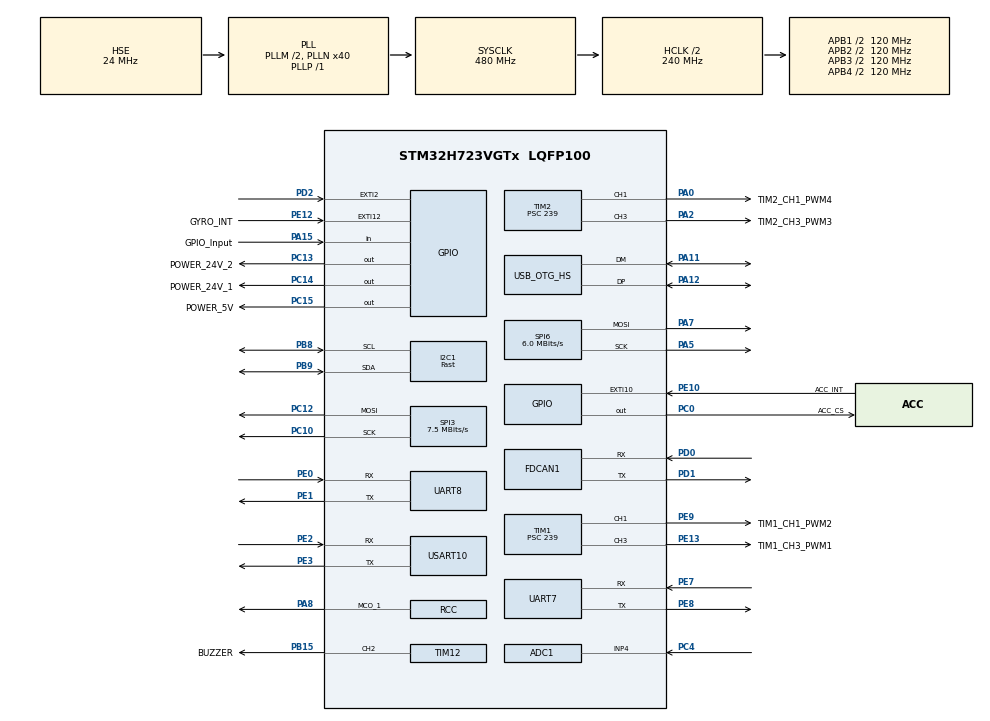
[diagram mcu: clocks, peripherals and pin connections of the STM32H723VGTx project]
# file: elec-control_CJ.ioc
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ADC1.Channel-1\#ChannelRegularConversion=ADC_CHANNEL_4
ADC1.ContinuousConvMode=ENABLE
ADC1.NbrOfConversionFlag=1
ADC1.OffsetNumber-1\#ChannelRegularConversion=ADC_OFFSET_NONE
ADC1.OffsetSignedSaturation-1\#ChannelRegularConversion=DISABLE
ADC1.Rank-1\#ChannelRegularConversion=1
ADC1.SamplingTime-1\#ChannelRegularConversion=ADC_SAMPLETIME_64CYCLES_5
ADC1.master=1
CORTEX_M7.default_mode_Activation=0
Dma.ADC1.1.Direction=DMA_PERIPH_TO_MEMORY
Dma.ADC1.1.EventEnable=DISABLE
Dma.ADC1.1.FIFOMode=DMA_FIFOMODE_DISABLE
Dma.ADC1.1.Instance=DMA1_Stream1
Dma.ADC1.1.MemDataAlignment=DMA_MDATAALIGN_HALFWORD
Dma.ADC1.1.MemInc=DMA_MINC_ENABLE
Dma.ADC1.1.Mode=DMA_CIRCULAR
Dma.ADC1.1.PeriphDataAlignment=DMA_PDATAALIGN_HALFWORD
Dma.ADC1.1.PeriphInc=DMA_PINC_DISABLE
Dma.ADC1.1.Polarity=HAL_DMAMUX_REQ_GEN_RISING
Dma.ADC1.1.Priority=DMA_PRIORITY_LOW
Dma.ADC1.1.RequestNumber=1
Dma.ADC1.1.SignalID=NONE
Dma.ADC1.1.SyncEnable=DISABLE
Dma.ADC1.1.SyncPolarity=HAL_DMAMUX_SYNC_NO_EVENT
Dma.ADC1.1.SyncRequestNumber=1
Dma.ADC1.1.SyncSignalID=NONE
Dma.Request0=UART7_RX
Dma.Request1=ADC1
Dma.UART7_RX.0.Direction=DMA_PERIPH_TO_MEMORY
Dma.UART7_RX.0.EventEnable=DISABLE
Dma.UART7_RX.0.FIFOMode=DMA_FIFOMODE_DISABLE
Dma.UART7_RX.0.Instance=DMA1_Stream0
Dma.UART7_RX.0.MemDataAlignment=DMA_MDATAALIGN_BYTE
Dma.UART7_RX.0.MemInc=DMA_MINC_ENABLE
Dma.UART7_RX.0.Mode=DMA_NORMAL
Dma.UART7_RX.0.PeriphDataAlignment=DMA_PDATAALIGN_BYTE
Dma.UART7_RX.0.PeriphInc=DMA_PINC_DISABLE
Dma.UART7_RX.0.Polarity=HAL_DMAMUX_REQ_GEN_RISING
Dma.UART7_RX.0.Priority=DMA_PRIORITY_HIGH
Dma.UART7_RX.0.RequestNumber=1
Dma.UART7_RX.0.SignalID=NONE
Dma.UART7_RX.0.SyncEnable=DISABLE
Dma.UART7_RX.0.SyncPolarity=HAL_DMAMUX_SYNC_NO_EVENT
Dma.UART7_RX.0.SyncRequestNumber=1
Dma.UART7_RX.0.SyncSignalID=NONE
FDCAN1.AutoRetransmission=ENABLE
FDCAN1.CalculateBaudRateNominal=999999
FDCAN1.CalculateTimeBitNominal=1000
FDCAN1.CalculateTimeQuantumNominal=166.66666666666669
FDCAN1.ExtFiltersNbr=1
FDCAN1.NominalPrescaler=20
FDCAN1.NominalSyncJumpWidth=30
FDCAN1.NominalTimeSeg1=4
FDCAN1.NominalTimeSeg2=1
FDCAN1.RxFifo0ElmtsNbr=8
FDCAN1.StdFiltersNbr=1
FDCAN1.TxFifoQueueElmtsNbr=3
FREERTOS.BinarySemaphores01=MotionDoneSem,Dynamic,NULL,Depleted
FREERTOS.Queues01=UsbRxQueue,64,USB_RxPacket_t,0,Dynamic,NULL,NULL;ScreenQueue,5,ScreenMsg_t,0,Dynamic,NULL,NULL;MotionQueue,5,comm_vision_t,0,Dynamic,NULL,NULL;CommQueue,5,comm_vision_t,0,Dynamic,NULL,NULL
FREERTOS.Tasks01=defaultTask,24,128,StartDefaultTask,Default,NULL,Dynamic,NULL,NULL;Comm_Task,24,512,CommTask,Default,NULL,Dynamic,NULL,NULL;Indicator_Task,32,512,IndicatorTask,Default,NULL,Dynamic,NULL,NULL;Screen_Task,8,512,ScreenTask,Default,NULL,Dynamic,NULL,NULL;Main_Task,16,256,MainTask,Default,NULL,Dynamic,NULL,NULL
I2C1.I2C_Speed_Mode=I2C_Fast
I2C1.Speed=400
I2C1.Timing=0x00B03FDB
Mcu.Family=STM32H7
Mcu.Name=STM32H723VGTx
Mcu.Package=LQFP100
NVIC.DMA1_Stream0_IRQn=true\:5\:0\:false\:false\:true\:true\:false\:true\:true
NVIC.DMA1_Stream1_IRQn=true\:5\:0\:false\:false\:true\:true\:false\:true\:true
NVIC.FDCAN1_IT0_IRQn=true\:5\:0\:false\:false\:true\:true\:true\:true\:true
NVIC.FDCAN1_IT1_IRQn=true\:5\:0\:false\:false\:true\:true\:true\:true\:true
NVIC.OTG_HS_IRQn=true\:5\:0\:false\:false\:true\:true\:true\:true\:true
NVIC.PriorityGroup=NVIC_PRIORITYGROUP_4
NVIC.TIM23_IRQn=true\:15\:0\:false\:false\:true\:false\:false\:true\:true
NVIC.TIM8_UP_TIM13_IRQn=true\:5\:0\:false\:false\:true\:true\:true\:true\:true
NVIC.TimeBase=TIM23_IRQn
NVIC.TimeBaseIP=TIM23
NVIC.UART8_IRQn=true\:5\:0\:false\:false\:true\:true\:true\:true\:true
PA0.GPIO_Label=TIM2_CH1_PWM4
PA0.Signal=S_TIM2_CH1_ETR
PA11.Mode=Device_Only_FS
PA11.Signal=USB_OTG_HS_DM
PA12.Mode=Device_Only_FS
PA12.Signal=USB_OTG_HS_DP
PA15(JTDI).GPIO_Label=GPIO_Input
PA15(JTDI).Signal=GPIO_Input
PA2.GPIO_Label=TIM2_CH3_PWM3
PA2.Signal=S_TIM2_CH3
PA5.Mode=TX_Only_Simplex_Unidirect_Master
PA5.Signal=SPI6_SCK
PA7.Mode=TX_Only_Simplex_Unidirect_Master
PA7.Signal=SPI6_MOSI
PA8.Mode=Clock-out-1
PA8.Signal=RCC_MCO_1
PB15.GPIO_Label=BUZZER
PB15.Signal=S_TIM12_CH2
PB8.GPIO_Pu=GPIO_PULLUP
PB8.Mode=I2C
PB8.Signal=I2C1_SCL
PB9.GPIO_Pu=GPIO_PULLUP
PB9.Mode=I2C
PB9.Signal=I2C1_SDA
PC0.GPIO_Label=ACC_CS
PC0.Signal=GPIO_Output
PC10.Mode=TX_Only_Simplex_Unidirect_Master
PC10.Signal=SPI3_SCK
PC12.Mode=TX_Only_Simplex_Unidirect_Master
PC12.Signal=SPI3_MOSI
PC13.GPIO_Label=POWER_24V_2
PC13.PinState=GPIO_PIN_SET
PC13.Signal=GPIO_Output
PC14-OSC32_IN.GPIO_Label=POWER_24V_1
PC14-OSC32_IN.PinState=GPIO_PIN_SET
PC14-OSC32_IN.Signal=GPIO_Output
PC15-OSC32_OUT.GPIO_Label=POWER_5V
PC15-OSC32_OUT.PinState=GPIO_PIN_SET
PC15-OSC32_OUT.Signal=GPIO_Output
PC4.Signal=ADCx_INP4
PD0.Mode=FDCAN_Activate
PD0.Signal=FDCAN1_RX
PD1.Mode=FDCAN_Activate
PD1.Signal=FDCAN1_TX
PD2.GPIO_ModeDefaultEXTI=GPIO_MODE_IT_FALLING
PD2.GPIO_PuPd=GPIO_PULLUP
PD2.Signal=GPXTI2
PE0.Mode=Asynchronous
PE0.Signal=UART8_RX
PE1.Mode=Asynchronous
PE1.Signal=UART8_TX
PE10.GPIO_Label=ACC_INT
PE10.Signal=GPXTI10
PE12.GPIO_Label=GYRO_INT
PE12.Signal=GPXTI12
PE13.GPIO_Label=TIM1_CH3_PWM1
PE13.Signal=S_TIM1_CH3
PE2.Mode=Asynchronous
PE2.Signal=USART10_RX
PE3.Mode=Asynchronous
PE3.Signal=USART10_TX
PE7.Mode=Asynchronous
PE7.Signal=UART7_RX
PE8.Mode=Asynchronous
PE8.Signal=UART7_TX
PE9.GPIO_Label=TIM1_CH1_PWM2
PE9.Signal=S_TIM1_CH1
PH0-OSC_IN.Mode=HSE-External-Oscillator
PH0-OSC_IN.Signal=RCC_OSC_IN
PH1-OSC_OUT.Mode=HSE-External-Oscillator
PH1-OSC_OUT.Signal=RCC_OSC_OUT
ProjectManager.HeapSize=0x200
ProjectManager.StackSize=0x400
ProjectManager.TargetToolchain=MDK-ARM V5.32
RCC.ADCFreq_Value=96000000
RCC.APB1Freq_Value=120000000
RCC.APB2Freq_Value=120000000
RCC.APB3Freq_Value=120000000
RCC.APB4Freq_Value=120000000
RCC.CortexFreq_Value=480000000
RCC.D1PPRE=RCC_APB3_DIV2
RCC.D2PPRE1=RCC_APB1_DIV2
RCC.D2PPRE2=RCC_APB2_DIV2
RCC.D3PPRE=RCC_APB4_DIV2
RCC.DIVM1=2
RCC.DIVM2=2
RCC.DIVN1=40
RCC.DIVN2=16
RCC.DIVP1=1
RCC.DIVQ1=4
RCC.HCLKFreq_Value=240000000
RCC.HPRE=RCC_HCLK_DIV2
RCC.HSE_VALUE=24000000
RCC.PLL2FRACN=0
RCC.PLL3FRACN=0
RCC.PLLFRACN=0
RCC.PLLSourceVirtual=RCC_PLLSOURCE_HSE
RCC.SPI6CLockSelection=RCC_SPI6CLKSOURCE_HSE
RCC.SYSCLKFreq_VALUE=480000000
RCC.SYSCLKSource=RCC_SYSCLKSOURCE_PLLCLK
RCC.USBCLockSelection=RCC_USBCLKSOURCE_HSI48
RCC.USBFreq_Value=48000000
SH.ADCx_INP4.0=ADC1_INP4,IN4-Single-Ended
SH.S_TIM12_CH2.0=TIM12_CH2,PWM Generation2 CH2
SH.S_TIM1_CH1.0=TIM1_CH1,PWM Generation1 CH1
SH.S_TIM1_CH3.0=TIM1_CH3,PWM Generation3 CH3
SH.S_TIM2_CH1_ETR.0=TIM2_CH1,PWM Generation1 CH1
SH.S_TIM2_CH3.0=TIM2_CH3,PWM Generation3 CH3
SPI3.BaudRatePrescaler=SPI_BAUDRATEPRESCALER_16
SPI3.CLKPhase=SPI_PHASE_2EDGE
SPI3.CLKPolarity=SPI_POLARITY_LOW
SPI3.CalculateBaudRate=7.5 MBits/s
SPI3.DataSize=SPI_DATASIZE_8BIT
SPI3.Direction=SPI_DIRECTION_2LINES_TXONLY
SPI3.Mode=SPI_MODE_MASTER
SPI3.VirtualType=VM_MASTER
SPI6.BaudRatePrescaler=SPI_BAUDRATEPRESCALER_4
SPI6.CLKPhase=SPI_PHASE_2EDGE
SPI6.CalculateBaudRate=6.0 MBits/s
SPI6.DataSize=SPI_DATASIZE_8BIT
SPI6.Direction=SPI_DIRECTION_2LINES_TXONLY
SPI6.Mode=SPI_MODE_MASTER
SPI6.VirtualType=VM_MASTER
TIM1.AutoReloadPreload=TIM_AUTORELOAD_PRELOAD_ENABLE
TIM1.Channel-PWM\ Generation1\ CH1=TIM_CHANNEL_1
TIM1.Channel-PWM\ Generation3\ CH3=TIM_CHANNEL_3
TIM1.Period=19999
TIM1.Prescaler=239
TIM1.Pulse-PWM\ Generation1\ CH1=1500
TIM1.Pulse-PWM\ Generation3\ CH3=1500
TIM12.Channel-PWM\ Generation2\ CH2=TIM_CHANNEL_2
TIM12.Period=2000-1
TIM12.Prescaler=24-1
TIM13.Period=1999
TIM13.Prescaler=27499
TIM2.AutoReloadPreload=TIM_AUTORELOAD_PRELOAD_ENABLE
TIM2.Channel-PWM\ Generation1\ CH1=TIM_CHANNEL_1
TIM2.Channel-PWM\ Generation3\ CH3=TIM_CHANNEL_3
TIM2.Period=19999
TIM2.Prescaler=239
TIM2.Pulse-PWM\ Generation1\ CH1=1500
TIM2.Pulse-PWM\ Generation3\ CH3=1500
USART10.VirtualMode=VM_ASYNC
USB_DEVICE.CLASS_NAME_HS=CDC
USB_DEVICE.VirtualMode=Cdc
USB_DEVICE.VirtualModeHS=Cdc_HS
USB_OTG_HS.VirtualMode-Device_Only_FS=Device_Only_FS
VP_FREERTOS_VS_CMSIS_V2.Mode=CMSIS_V2
VP_MEMORYMAP_VS_MEMORYMAP.Mode=CurAppReg
VP_SYS_VS_tim23.Mode=TIM23
VP_TIM13_VS_ClockSourceINT.Mode=Enable_Timer
VP_USB_DEVICE_VS_USB_DEVICE_CDC_HS.Mode=CDC_HS
board=custom

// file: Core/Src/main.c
/* USER CODE BEGIN Header */
/**
  ******************************************************************************
  * @file           : main.c
  * @brief          : Main program body
  ******************************************************************************
  * @attention
  *
  * Copyright (c) 2026 STMicroelectronics.
  * All rights reserved.
  *
  * This software is licensed under terms that can be found in the LICENSE file
  * in the root directory of this software component.
  * If no LICENSE file comes with this software, it is provided AS-IS.
  *
  ******************************************************************************
  */
/* USER CODE END Header */
#include "main.h"
#include "FreeRTOS.h"
#include "cmsis_os2.h"
#include "adc.h"
#include "dma.h"
#include "fdcan.h"
#include "i2c.h"
#include "spi.h"
#include "tim.h"
#include "usart.h"
#include "usb_device.h"
#include "gpio.h"

/* USER CODE BEGIN Includes */
#include "ZDT_CAN.h"
#include "battery_driver.h"
/* USER CODE END Includes */

void SystemClock_Config(void);
void MX_FREERTOS_Init(void);

int main(void)
{

  /* MCU Configuration--------------------------------------------------------*/

  /* Reset of all peripherals, Initializes the Flash interface and the Systick. */
  HAL_Init();

  /* Configure the system clock */
  SystemClock_Config();

  /* Initialize all configured peripherals */
  MX_GPIO_Init();
  MX_DMA_Init();
  MX_FDCAN1_Init();
  MX_UART7_Init();
  MX_USART10_UART_Init();
  MX_TIM1_Init();
  MX_TIM2_Init();
  MX_TIM12_Init();
  MX_SPI6_Init();
  MX_ADC1_Init();
  MX_TIM13_Init();
  MX_I2C1_Init();
  MX_SPI3_Init();
  MX_UART8_Init();
  /* USER CODE BEGIN 2 */

 /* Power_5V_EN = 1 */
  HAL_GPIO_WritePin(GPIOC, GPIO_PIN_15, GPIO_PIN_SET);
  /* POWER_24V_1 powers the Damiao/tower motor bus. */
  HAL_GPIO_WritePin(POWER_24V_1_GPIO_Port, POWER_24V_1_Pin, GPIO_PIN_SET);

    USER_CAN1_Init();

    Battery_Init();

    HAL_TIM_Base_Start_IT(&htim13);
  /* USER CODE END 2 */

  /* Init scheduler */
  osKernelInitialize();  /* Call init function for freertos objects (in cmsis_os2.c) */
  MX_FREERTOS_Init();

  /* Start scheduler */
  osKernelStart();

  /* We should never get here as control is now taken by the scheduler */

  /* Infinite loop */
  while (1)
  {

  }
}

void SystemClock_Config(void)
{
  RCC_OscInitTypeDef RCC_OscInitStruct = {0};
  RCC_ClkInitTypeDef RCC_ClkInitStruct = {0};

  /** Supply configuration update enable
  */
  HAL_PWREx_ConfigSupply(PWR_LDO_SUPPLY);

  /** Configure the main internal regulator output voltage
  */
  __HAL_PWR_VOLTAGESCALING_CONFIG(PWR_REGULATOR_VOLTAGE_SCALE0);

  while(!__HAL_PWR_GET_FLAG(PWR_FLAG_VOSRDY)) {}

  /** Initializes the RCC Oscillators according to the specified parameters
  * in the RCC_OscInitTypeDef structure.
  */
  RCC_OscInitStruct.OscillatorType = RCC_OSCILLATORTYPE_HSI48|RCC_OSCILLATORTYPE_HSI
                              |RCC_OSCILLATORTYPE_HSE;
  RCC_OscInitStruct.HSEState = RCC_HSE_ON;
  RCC_OscInitStruct.HSIState = RCC_HSI_DIV1;
  RCC_OscInitStruct.HSICalibrationValue = 64;
  RCC_OscInitStruct.HSI48State = RCC_HSI48_ON;
  RCC_OscInitStruct.PLL.PLLState = RCC_PLL_ON;
  RCC_OscInitStruct.PLL.PLLSource = RCC_PLLSOURCE_HSE;
  RCC_OscInitStruct.PLL.PLLM = 2;
  RCC_OscInitStruct.PLL.PLLN = 40;
  RCC_OscInitStruct.PLL.PLLP = 1;
  RCC_OscInitStruct.PLL.PLLQ = 4;
  RCC_OscInitStruct.PLL.PLLR = 2;
  RCC_OscInitStruct.PLL.PLLRGE = RCC_PLL1VCIRANGE_3;
  RCC_OscInitStruct.PLL.PLLVCOSEL = RCC_PLL1VCOWIDE;
  RCC_OscInitStruct.PLL.PLLFRACN = 0;
  if (HAL_RCC_OscConfig(&RCC_OscInitStruct) != HAL_OK)
  {
    Error_Handler();
  }

  /** Initializes the CPU, AHB and APB buses clocks
  */
  RCC_ClkInitStruct.ClockType = RCC_CLOCKTYPE_HCLK|RCC_CLOCKTYPE_SYSCLK
                              |RCC_CLOCKTYPE_PCLK1|RCC_CLOCKTYPE_PCLK2
                              |RCC_CLOCKTYPE_D3PCLK1|RCC_CLOCKTYPE_D1PCLK1;
  RCC_ClkInitStruct.SYSCLKSource = RCC_SYSCLKSOURCE_PLLCLK;
  RCC_ClkInitStruct.SYSCLKDivider = RCC_SYSCLK_DIV1;
  RCC_ClkInitStruct.AHBCLKDivider = RCC_HCLK_DIV2;
  RCC_ClkInitStruct.APB3CLKDivider = RCC_APB3_DIV2;
  RCC_ClkInitStruct.APB1CLKDivider = RCC_APB1_DIV2;
  RCC_ClkInitStruct.APB2CLKDivider = RCC_APB2_DIV2;
  RCC_ClkInitStruct.APB4CLKDivider = RCC_APB4_DIV2;

  if (HAL_RCC_ClockConfig(&RCC_ClkInitStruct, FLASH_LATENCY_3) != HAL_OK)
  {
    Error_Handler();
  }
  HAL_RCC_MCOConfig(RCC_MCO1, RCC_MCO1SOURCE_HSI, RCC_MCODIV_1);
}

void HAL_TIM_PeriodElapsedCallback(TIM_HandleTypeDef *htim)
{
  if (htim->Instance == TIM23)
  {
    HAL_IncTick();
  }
  /* USER CODE BEGIN Callback 1 */

    // �ж��ǲ������ǵ� TIM6 ������
    if (htim->Instance == TIM13)
    {

        g_battery_voltage = Battery_GetVoltage();
    }

  /* USER CODE END Callback 1 */
}

void Error_Handler(void)
{
  __disable_irq();
  while (1)
  {
  }
}

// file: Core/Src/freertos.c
/* USER CODE BEGIN Header */
/**
  ******************************************************************************
  * File Name          : freertos.c
  * Description        : Code for freertos applications
  ******************************************************************************
  * @attention
  *
  * Copyright (c) 2026 STMicroelectronics.
  * All rights reserved.
  *
  * This software is licensed under terms that can be found in the LICENSE file
  * in the root directory of this software component.
  * If no LICENSE file comes with this software, it is provided AS-IS.
  *
  ******************************************************************************
  */
/* USER CODE END Header */

#include "FreeRTOS.h"
#include "task.h"
#include "main.h"
#include "FreeRTOS.h"
#include "cmsis_os2.h"

/* USER CODE BEGIN Includes */
#include "usbd_cdc_if.h"
#include "usb_processing.h"
#include "buzzer.h"
#include "led.h"
#include "servo.h"
#include "Emm_V5.h"
#include "motor.h"
#include "screen.h"
#include "screen_config.h"
#include "battery_driver.h"
#include "DEBUG.h"
#include "OLED.h"
#include "BUTTON.h"
#include "SENSOR.h"
/* USER CODE END Includes */

/* USER CODE BEGIN PTD */

//typedef struct {
//    ScreenCmdType_t type; // 操作类型
//    uint8_t row;          // 屏幕行号
//    int32_t count;        // 当前的数量
//} ScreenMsg_t;

/* USER CODE END PTD */

/* USER CODE BEGIN PD */
#define PNEUMATIC_TEST_ENABLE   0U
#define CHASSIS_TEST_ENABLE     0U
#define COMM_TASK_TEST_ENABLE   0U
/* USER CODE END PD */

/* USER CODE BEGIN PM */
volatile uint8_t g_motion_aborted = 0;  //用于保护（业务保护，比如坐标越界就会1）
/* USER CODE END PM */

/* Definitions for defaultTask */
osThreadId_t defaultTaskHandle;
const osThreadAttr_t defaultTask_attributes = {
  .name = "defaultTask",
  .stack_size = 128 * 4,
  .priority = (osPriority_t) osPriorityNormal,
};
/* Definitions for Comm_Task */
osThreadId_t Comm_TaskHandle;
const osThreadAttr_t Comm_Task_attributes = {
  .name = "Comm_Task",
  .stack_size = 512 * 4,
  .priority = (osPriority_t) osPriorityNormal,
};
/* Definitions for Indicator_Task */
osThreadId_t Indicator_TaskHandle;
const osThreadAttr_t Indicator_Task_attributes = {
  .name = "Indicator_Task",
  .stack_size = 512 * 4,
  .priority = (osPriority_t) osPriorityAboveNormal,
};
/* Definitions for Screen_Task */
osThreadId_t Screen_TaskHandle;
const osThreadAttr_t Screen_Task_attributes = {
  .name = "Screen_Task",
  .stack_size = 512 * 4,
  .priority = (osPriority_t) osPriorityLow,
};
/* Definitions for Main_Task */
osThreadId_t Main_TaskHandle;
const osThreadAttr_t Main_Task_attributes = {
  .name = "Main_Task",
  .stack_size = 256 * 4,
  .priority = (osPriority_t) osPriorityBelowNormal,
};
/* Definitions for UsbRxQueue */
osMessageQueueId_t UsbRxQueueHandle;
const osMessageQueueAttr_t UsbRxQueue_attributes = {
  .name = "UsbRxQueue"
};
/* Definitions for ScreenQueue */
osMessageQueueId_t ScreenQueueHandle;
const osMessageQueueAttr_t ScreenQueue_attributes = {
  .name = "ScreenQueue"
};
/* Definitions for MotionQueue */
osMessageQueueId_t MotionQueueHandle;
const osMessageQueueAttr_t MotionQueue_attributes = {
  .name = "MotionQueue"
};
/* Definitions for CommQueue */
osMessageQueueId_t CommQueueHandle;
const osMessageQueueAttr_t CommQueue_attributes = {
  .name = "CommQueue"
};
/* Definitions for MotionDoneSem */
osSemaphoreId_t MotionDoneSemHandle;
const osSemaphoreAttr_t MotionDoneSem_attributes = {
  .name = "MotionDoneSem"
};

void StartDefaultTask(void *argument);
void CommTask(void *argument);
void IndicatorTask(void *argument);
void ScreenTask(void *argument);
void MainTask(void *argument);

extern void MX_USB_DEVICE_Init(void);
void MX_FREERTOS_Init(void); /* (MISRA C 2004 rule 8.1) */

void MX_FREERTOS_Init(void) {

  /* Create the semaphores(s) */
  /* creation of MotionDoneSem */
  MotionDoneSemHandle = osSemaphoreNew(1, 0, &MotionDoneSem_attributes);

  /* Create the queue(s) */
  /* creation of UsbRxQueue */
  UsbRxQueueHandle = osMessageQueueNew (64, sizeof(USB_RxPacket_t), &UsbRxQueue_attributes);

  /* creation of ScreenQueue */
  ScreenQueueHandle = osMessageQueueNew (5, sizeof(ScreenMsg_t), &ScreenQueue_attributes);

  /* creation of MotionQueue */
  MotionQueueHandle = osMessageQueueNew (5, sizeof(comm_vision_t), &MotionQueue_attributes);

  /* creation of CommQueue */
  CommQueueHandle = osMessageQueueNew (5, sizeof(comm_vision_t), &CommQueue_attributes);

  /* Create the thread(s) */
  /* creation of defaultTask */
  defaultTaskHandle = osThreadNew(StartDefaultTask, NULL, &defaultTask_attributes);

  /* creation of Comm_Task */
  Comm_TaskHandle = osThreadNew(CommTask, NULL, &Comm_Task_attributes);

  /* creation of Indicator_Task */
  Indicator_TaskHandle = osThreadNew(IndicatorTask, NULL, &Indicator_Task_attributes);

  /* creation of Screen_Task */
  Screen_TaskHandle = osThreadNew(ScreenTask, NULL, &Screen_Task_attributes);

  /* creation of Main_Task */
  Main_TaskHandle = osThreadNew(MainTask, NULL, &Main_Task_attributes);

}

void StartDefaultTask(void *argument)
{
  /* init code for USB_DEVICE */
  MX_USB_DEVICE_Init();
  /* USER CODE BEGIN StartDefaultTask */

    WS2812_Init();
    Servo_Init();
    OLED_Init();
    Chassis_Init();
    buzzer_Init();
    Debug_Init();
    //* 2. 初始状态：亮蓝灯闪烁（等待按键） *//
    WS2812_Blink(1, 0, 0, 255, 50, 200, 800); // 亮度50，亮500ms灭500ms
    WS2812_SetColor(2, 255, 255, 255, 50);
    #if PNEUMATIC_TEST_ENABLE
      for (uint32_t cycle = 0U; cycle < 1; cycle++)
      {

//          Servo_SetPulse(1, SERVO1_GRIP);
//          osDelay(3000U);
//          Servo_SetPulse(1, SERVO1_RELEASE);
//          osDelay(3000U);
//          for(uint8_t i = 0; i < 6; i++)
//          {
//            Spin_servo_position(i);
//             osDelay(3000U);
//          }
//         Pneumatic_On();
//          osDelay(3000);
//         Pneumatic_Off();
//

      }

      //Pneumatic_AllOff();
    #endif

  /* Test complete. Keep the task idle without changing the outputs. */
  for (;;)
  {
      Button_Handler();
      WS2812_Update();
      OLED_UpdataScreen();
      osDelay(10U);
  }
  /* USER CODE END StartDefaultTask */
}

void CommTask(void *argument)
{
  /* USER CODE BEGIN CommTask */
    USB_RxPacket_t rxPacket;
    comm_vision_t v_data;

  /* Infinite loop */
  for(;;)
  {

      if(osMessageQueueGet(UsbRxQueueHandle, &rxPacket, NULL, 0) == osOK)
      {
        // 2. 解析协议
          cmd_handle(rxPacket.buffer, rxPacket.len);

          //3. 打包丢给逻辑大任务
          if(g_vision_Data.M_shape_id < NAME_TOTAL && g_vision_Data.M_color_id < COLOR_TOTAL)
          {

               v_data.M_shape_id = g_vision_Data.M_shape_id;
                v_data.M_color_id = g_vision_Data.M_color_id;
                v_data.M_x = g_vision_Data.M_x;
                v_data.M_y = g_vision_Data.M_y;
                    //放入视觉队列，供Main_task用
                    osMessageQueuePut(CommQueueHandle, &v_data, 0 ,0);
                }
          }

    #if COMM_TASK_TEST_ENABLE
              uint8_t txbuf[128];
    //            int n = snprintf((char*)txbuf, sizeof(txbuf), "ECHO: %.*s\r\n",
    //                             (int)rxPacket.len, rxPacket.buffer);
                int n = snprintf((char*)txbuf, sizeof(txbuf),
                         "Vision -> Shape:%d, Color:%d, X:%d, Y:%d\r\n",
                         g_vision_Data.M_shape_id,
                         g_vision_Data.M_color_id,
                         g_vision_Data.M_x,
                         g_vision_Data.M_y);
                CDC_Transmit_HS(txbuf, (uint16_t)n);
    #endif

    osDelay(1);
  }
  /* USER CODE END CommTask */
}

void IndicatorTask(void *argument)
{
  /* USER CODE BEGIN IndicatorTask */

    comm_vision_t target_pos;
    const int MAX_RETRY = 3;    //未检测到物体时，重复抓取次数（超过该次数进入超时）

  /* Infinite loop */
  for(;;)
  {
      //ZDTcontrol
      #if CHASSIS_TEST_ENABLE

        // 【优雅的一行调用】等待物料掉落，最长等 1500 毫秒
          if (Sensor_WaitForDrop(1500))
          {
              // 成功检测到物料穿过传感器掉进桶里
              g_motion_aborted = 0;
              buzzer_finish_flag(2); // 滴滴，成功提示
          }
          else
          {
              // 1.5 秒了还没掉下去，肯定卡住了或者没抓起来
              g_motion_aborted = 1;
          }

      /* ---------- 1. 单轴方向：A 正转 10mm ----------
         * 预期：只有 A 电机转，B 不动
         * 反了：改 A_DIR_SIGN
         */
        //Z_MoveTo(30.0f, 100U, 30U);   // A=B=800，两电机同向
//        osDelay(3000U);

//        /* ---------- 2. 回原点 ---------- */
//        osDelay(2000U);
//      osDelay(1500U);
//      Chassis_MoveToAndWait(PUT_PLACE_X, PUT_PLACE_Y, XY_VEL, XY_ACC);
//        Chassis_MoveToAndWait(130.0f, 120.0f, XY_VEL, XY_ACC);
//        osDelay(5000U);
//        Chassis_MoveToAndWait(0.0f, 0.0f, XY_VEL, XY_ACC);
//        osDelay(5000U);
//      Chassis_MoveTo(130.0f, 120.0f, 300, 225);
//      osDelay(5000U);
//      Chassis_MoveTo(0.0f, 0.0f, 300, 225);
//      osDelay(5000U);

//      Z_MoveToAndWait(Z_PICK_HEIGHT+1.0f, Z_VEL, Z_ACC);
        //Servo_SetPulse(SERVO_ADDR1, SERVO1_GRIP);
      //osDelay(1000);
      //Servo_SetPulse(SERVO_ADDR1, SERVO1_RELEASE);
      //Chassis_ReportRealPos();
//      Z_MoveToAndWait(Z_PICK_HEIGHT, Z_VEL, Z_ACC);
//      Debug_Printf("Hello World");
      #endif

      //1. 阻塞等待运动指令
      if(osMessageQueueGet(MotionQueueHandle, &target_pos, NULL, 100U) == osOK)
      {

          uint8_t drop_success = 0; //是否抓取成功标志

          // ==========================================
          // 阶段 0：去抓取（带防撞机、重试、光电检测）
          // ==========================================
          for (int retry = 0; retry < MAX_RETRY; retry++)
          {
              if (retry > 0) {
                  // 如果重试，先确保夹爪是松开的，防止卡住物料
                  Servo_SetPulse(SERVO_ADDR1, SERVO1_RELEASE);
                  Pneumatic_Off();
                  osDelay(300);
              }

              // --- 放置实际电机、舵机动作 ---
              // ==========================================
              // 阶段 1：准备抓取
              // ==========================================
              // 1. 确保 Z 轴在安全高度（防止平移时撞机）
              Z_MoveToAndWait(Z_SAFE_HEIGHT, Z_VEL, Z_ACC);

              // 2. XY 移动到物料上方
              if (Chassis_MoveToAndWait(target_pos.M_x, target_pos.M_y, XY_VEL, XY_ACC) != HAL_OK)
              {
                  g_motion_aborted = 1;
                  osSemaphoreRelease(MotionDoneSemHandle);
                  continue; // 直接进入下一轮循环，Z轴完全不动
              }

              Pneumatic_On();
              //2. 下降 吸盘吸取并且舵机抓取
              Z_MoveToAndWait(Z_PICK_HEIGHT, Z_VEL, Z_ACC);

              // ==========================================
              // 阶段 2：抓取动作
              // ==========================================
              // 打开吸盘 / 舵机夹紧
              Servo_SetPulse(SERVO_ADDR1, SERVO1_GRIP);
              //osDelay(1000);

              //osDelay(500);     //加一点延迟放置吸不上

              //3. 抬起 / 归位
               Z_MoveToAndWait(Z_SAFE_HEIGHT, Z_VEL, Z_ACC);

              //4. 移动到放置区域（需要考虑过度点）
              // Chassis_MoveToAndWait(PUT_TRANSITION_PLACE_X, PUT_TRANSITION_PLACE_Y, XY_VEL, XY_ACC);
              Chassis_MoveToAndWait(PUT_PLACE_X, PUT_PLACE_Y, XY_VEL, XY_ACC);

              //5. 垃圾桶旋转
              //Spin_position(target_pos.row - 1);  这个是张大头
              Spin_servo_position(target_pos.row - 1);    //这个是舵机

              //6. z轴下降到放置高度
              //Z_MoveToAndWait(Z_PLACE_HEIGHT, Z_VEL, Z_ACC);

              //7. 关闭吸盘 / 舵机松开
              Servo_SetPulse(SERVO_ADDR1, SERVO1_RELEASE);
              osDelay(500);
              Pneumatic_Off();
              //osDelay(500);     //加一点延迟放置吸不上

              //8. 最后抬起 Z 轴，回到安全高度，准备下次任务
               //Z_MoveToAndWait(Z_SAFE_HEIGHT, Z_VEL, Z_ACC);
              //Servo_SetPulse(SERVO_ADDR1, SERVO1_RELEASE);

              if (Sensor_WaitForDrop(1500))
              {
                  buzzer_finish_flag(2); // 成功掉入桶中
                  g_motion_aborted = 0;
                  break;
              }
              else
              {
                  g_motion_aborted = 1;
              }
          }
            // ==========================================
            // 阶段 4：最终结算
            // ==========================================
            if (!drop_success || g_motion_aborted) {
                // 重试了 3 次都没成功，或者底层报错
                g_motion_aborted = 1;
            } else {
                g_motion_aborted = 0;
            }

            Z_MoveToAndWait(Z_SAFE_HEIGHT, Z_VEL, Z_ACC); //反复抬升（目前是多余的 但留着）

          //11.可以加入释放信号量，告诉MainTask抓完了
          osSemaphoreRelease(MotionDoneSemHandle);

      }

    osDelay(1);
  }
  /* USER CODE END IndicatorTask */
}

void ScreenTask(void *argument)
{
  /* USER CODE BEGIN ScreenTask */
    ScreenMsg_t msg;

  /* Infinite loop */
  for(;;)
  {
      if(osMessageQueueGet(ScreenQueueHandle, &msg, NULL, osWaitForever) == osOK)
      {
          //若接收到了上位机下发的视觉消息，则进行判断
            screen_handle_material(msg.shape_id, msg.color_id);
      }

    osDelay(1);
  }
  /* USER CODE END ScreenTask */
}

void MainTask(void *argument)
{
  /* USER CODE BEGIN MainTask */
    comm_vision_t current_vision;

  /* Infinite loop */
  for(;;)
  {
      if(osMessageQueueGet(CommQueueHandle, &current_vision, NULL, osWaitForever) == osOK)
      {
        // 1. 通知运动任务区抓取
            osMessageQueuePut(MotionQueueHandle, &current_vision, 0, 0);

            // 2. 等待抓取完成 (强烈建议加上 20000U 超时)
          if (osSemaphoreAcquire(MotionDoneSemHandle, 20000U) != osOK)    //感觉后期可以不加，调试加上即可(osWaitForever)
            {
                uint8_t err_msg[] = "ERR\r\n";
                CDC_Transmit_HS(err_msg, sizeof(err_msg)-1);
                continue;
            }

            // 3. 越界/异常检查（这里也不用加）
            if (g_motion_aborted)
            {
                uint8_t err_msg[] = "ERR\r\n";
                while(CDC_Transmit_HS(err_msg, sizeof(err_msg)-1) == USBD_BUSY) osDelay(1);
                continue;
            }

            // 4. 【核心精简】抓取成功，把物料信息丢给屏幕任务去处理
            ScreenMsg_t smsg;
            smsg.shape_id = current_vision.M_shape_id;
            smsg.color_id = current_vision.M_color_id;
            osMessageQueuePut(ScreenQueueHandle, &smsg, 0, 0);

            // 5. 发送 OK
            uint8_t ack_msg[] = "OK\r\n";
            while(CDC_Transmit_HS(ack_msg, sizeof(ack_msg)-1) == USBD_BUSY) osDelay(1);
      }
    osDelay(1);
  }
  /* USER CODE END MainTask */
}
